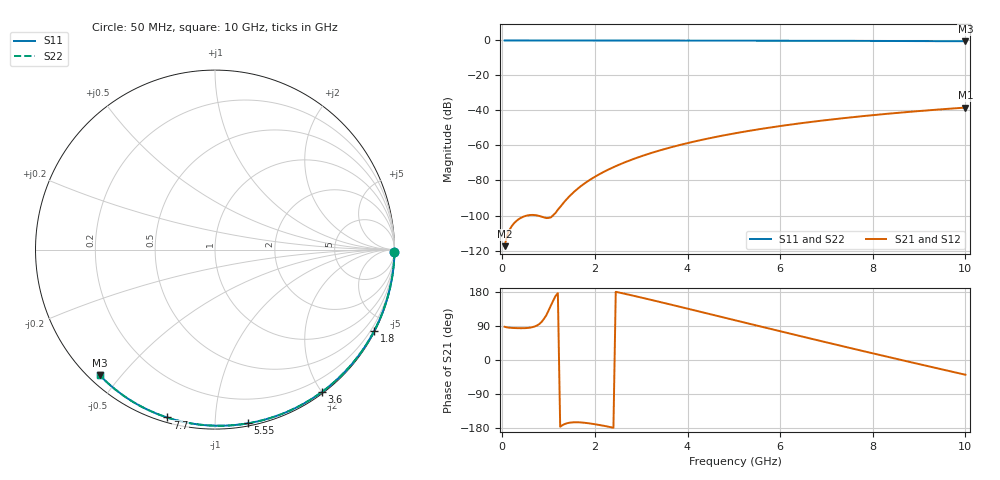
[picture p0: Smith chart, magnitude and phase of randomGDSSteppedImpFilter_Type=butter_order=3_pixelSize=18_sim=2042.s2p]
! freq	dB(S11)	phase(S11)	dB(S12)	phase(S12)
!  dB(S21)	phase(S21)	dB(S22)	phase(S22)
!S-par simulation data
#  GHz  S  DB  R 50
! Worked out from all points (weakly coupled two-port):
!   200 points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, 50 MHz to 10 GHz, reference 50 ohm
!   highest |S21| = -38.35 dB at 10 GHz (marker M1); lowest = -117.5 dB at 50 MHz (marker M2)
!   lowest |S11| = -0.4 dB at 10 GHz (marker M3), VSWR 38.79, Z = 1.54 - j21.9 ohm
!   |S11| at or under -10 dB: nowhere
!   |S22| runs from -0.4 to 0.0 dB; largest |S21 - S12| = 0
!   S11 on the Smith chart (normalised r, x): 50 MHz: open; 1.8 GHz: 0.04, -4.14; 3.6 GHz: 0.02, -2.00; 5.55 GHz: 0.02, -1.21; 7.7 GHz: 0.02, -0.75; 10 GHz: 0.03, -0.44
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0.05  -0.00 -0.8  -117.52 87.7  -117.52 87.7  -0.00 -0.8
0.9  -0.02 -13.7  -101.14 108.7  -101.14 108.7  -0.02 -13.7
1.75  -0.03 -26.4  -82.18 -165.3  -82.18 -165.3  -0.03 -26.5
1.8  -0.03 -27.2  -81.24 -166.0  -81.24 -166.0  -0.03 -27.2
1.85  -0.04 -27.9  -80.34 -166.7  -80.34 -166.7  -0.04 -28.0
1.9  -0.04 -28.7  -79.48 -167.5  -79.48 -167.5  -0.04 -28.7
2.05  -0.04 -30.9  -77.09 -170.5  -77.09 -170.5  -0.04 -30.9
2.25  -0.04 -33.8  -74.28 -175.0  -74.28 -175.0  -0.04 -33.9
2.45  -0.05 -36.7  -71.80 179.9  -71.80 179.9  -0.05 -36.8
2.65  -0.05 -39.6  -69.57 174.6  -69.57 174.6  -0.05 -39.7
3  -0.06 -44.7  -66.16 164.8  -66.16 164.8  -0.06 -44.7
3.4  -0.07 -50.3  -62.82 153.3  -62.82 153.3  -0.07 -50.4
3.6  -0.07 -53.1  -61.33 147.4  -61.33 147.4  -0.07 -53.2
4.3  -0.09 -62.8  -56.83 126.6  -56.83 126.6  -0.09 -62.9
5.05  -0.11 -72.8  -52.91 104.2  -52.91 104.2  -0.11 -72.9
5.55  -0.13 -79.3  -50.69 89.3  -50.69 89.3  -0.13 -79.4
6.1  -0.15 -86.3  -48.52 72.9  -48.52 72.9  -0.15 -86.5
6.7  -0.18 -93.8  -46.43 55.3  -46.43 55.3  -0.18 -93.9
7.7  -0.24 -105.9  -43.46 26.2  -43.46 26.2  -0.24 -106.0
8.35  -0.29 -113.6  -41.80 7.5  -41.80 7.5  -0.29 -113.7
9.15  -0.36 -122.8  -40.01 -15.1  -40.01 -15.1  -0.36 -122.9
10  -0.45 -132.6  -38.35 -38.9  -38.35 -38.9  -0.45 -132.6
